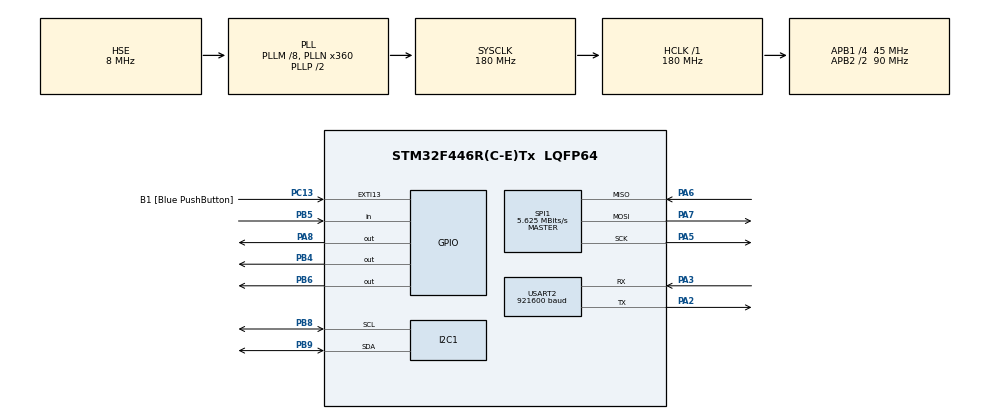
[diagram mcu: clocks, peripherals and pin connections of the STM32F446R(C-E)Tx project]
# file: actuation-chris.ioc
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Mcu.Family=STM32F4
Mcu.Name=STM32F446R(C-E)Tx
Mcu.Package=LQFP64
NVIC.PriorityGroup=NVIC_PRIORITYGROUP_0
NVIC.TIM1_BRK_TIM9_IRQn=true\:0\:0\:false\:false\:true\:true\:true\:true
NVIC.TIM1_CC_IRQn=true\:0\:0\:false\:false\:true\:true\:true\:true
NVIC.TIM1_TRG_COM_TIM11_IRQn=true\:0\:0\:false\:false\:true\:true\:true\:true
NVIC.TIM1_UP_TIM10_IRQn=true\:0\:0\:false\:false\:true\:true\:true\:true
NVIC.USART2_IRQn=true\:0\:0\:false\:false\:true\:true\:true\:true
PA13.GPIO_Label=TMS
PA13.Mode=Serial_Wire
PA13.Signal=SYS_JTMS-SWDIO
PA14.GPIO_Label=TCK
PA14.Mode=Serial_Wire
PA14.Signal=SYS_JTCK-SWCLK
PA2.Mode=Asynchronous
PA2.Signal=USART2_TX
PA3.Mode=Asynchronous
PA3.Signal=USART2_RX
PA5.Mode=Full_Duplex_Master
PA5.Signal=SPI1_SCK
PA6.Mode=Full_Duplex_Master
PA6.Signal=SPI1_MISO
PA7.Mode=Full_Duplex_Master
PA7.Signal=SPI1_MOSI
PA8.Signal=GPIO_Output
PB3.GPIO_Label=SWO
PB3.Signal=SYS_JTDO-SWO
PB4.Signal=GPIO_Output
PB5.Signal=GPIO_Input
PB6.Signal=GPIO_Output
PB8.Mode=I2C
PB8.Signal=I2C1_SCL
PB9.Mode=I2C
PB9.Signal=I2C1_SDA
PC13.GPIO_Label=B1 [Blue PushButton]
PC13.GPIO_ModeDefaultEXTI=GPIO_MODE_IT_FALLING
PC13.Signal=GPXTI13
PC14-OSC32_IN.Mode=LSE-External-Oscillator
PC14-OSC32_IN.Signal=RCC_OSC32_IN
PC15-OSC32_OUT.Mode=LSE-External-Oscillator
PC15-OSC32_OUT.Signal=RCC_OSC32_OUT
PH0-OSC_IN.Mode=HSE-External-Oscillator
PH0-OSC_IN.Signal=RCC_OSC_IN
PH1-OSC_OUT.Mode=HSE-External-Oscillator
PH1-OSC_OUT.Signal=RCC_OSC_OUT
ProjectManager.HeapSize=0x200
ProjectManager.StackSize=0x400
ProjectManager.TargetToolchain=STM32CubeIDE
RCC.48MHZClocksFreq_Value=84000000
RCC.AHBFreq_Value=180000000
RCC.APB1CLKDivider=RCC_HCLK_DIV4
RCC.APB1Freq_Value=45000000
RCC.APB1TimFreq_Value=90000000
RCC.APB2CLKDivider=RCC_HCLK_DIV2
RCC.APB2Freq_Value=90000000
RCC.APB2TimFreq_Value=180000000
RCC.CortexFreq_Value=180000000
RCC.FLatency-AdvancedSettings=FLASH_LATENCY_5
RCC.HCLKFreq_Value=180000000
RCC.HSE_VALUE=8000000
RCC.HSI_VALUE=16000000
RCC.PLLM=8
RCC.PLLN=360
RCC.PLLSourceVirtual=RCC_PLLSOURCE_HSE
RCC.SYSCLKFreq_VALUE=180000000
RCC.SYSCLKSource=RCC_SYSCLKSOURCE_PLLCLK
RCC.USBFreq_Value=180000000
RCC.VCOOutputFreq_Value=360000000
SPI1.BaudRatePrescaler=SPI_BAUDRATEPRESCALER_16
SPI1.CLKPhase=SPI_PHASE_2EDGE
SPI1.CalculateBaudRate=5.625 MBits/s
SPI1.Direction=SPI_DIRECTION_2LINES
SPI1.Mode=SPI_MODE_MASTER
SPI1.VirtualType=VM_MASTER
TIM1.Period=10
TIM1.Prescaler=17999
USART2.BaudRate=921600
USART2.VirtualMode=VM_ASYNC
VP_TIM1_VS_ClockSourceINT.Mode=Internal
board=NUCLEO-F446RE

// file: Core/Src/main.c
/* USER CODE BEGIN Header */
/**
  ******************************************************************************
  * @file           : main.c
  * @brief          : Main program body
  ******************************************************************************
  * @attention
  *
  * Copyright (c) 2023 STMicroelectronics.
  * All rights reserved.
  *
  * This software is licensed under terms that can be found in the LICENSE file
  * in the root directory of this software component.
  * If no LICENSE file comes with this software, it is provided AS-IS.
  *
  ******************************************************************************
  */
/* USER CODE END Header */
#include "main.h"
#include "i2c.h"
#include "spi.h"
#include "tim.h"
#include "usart.h"
#include "gpio.h"

/* USER CODE BEGIN Includes */

#include <stdio.h>

#include "pca9534.h"

/* USER CODE END Includes */

void SystemClock_Config(void);

/* USER CODE BEGIN 0 */

uint8_t UART2_rxBuffer[4l] = {0};
uint8_t keypress = 0;

uint32_t millis = 0;
float data_out[3] = {0}; //send to raspberry pi: (psi1, psi2, temp1)
uint8_t act_channels[11] = {0}; //first element is unused so 1-10 correspond to labeled channels

uint8_t ok_to_go;

int _write(int fd, char* ptr, int len) {
  HAL_UART_Transmit(&huart2, (uint8_t *) ptr, len, HAL_MAX_DELAY);
   return len;
}

//copied from daq-testbed-basic
uint8_t opcodes_to_spi(uint16_t* opcodes, uint8_t num_opcodes, uint8_t* spi_bytes) {
  for (uint8_t i = 0; i < num_opcodes; i++) {
    spi_bytes[i * 3 + 0] = opcodes[i] >> 8;
    spi_bytes[i * 3 + 1] = opcodes[i];
  }
  return num_opcodes * 3;
}

uint16_t read_single_reg(uint8_t address) {
  uint16_t opcodes[] = { 0xA000 | (address << 7) };

  uint8_t tx[3] = {0};
  opcodes_to_spi(opcodes, 1, tx);

  HAL_GPIO_WritePin(GPIOB, GPIO_PIN_6, 0); // CS low
  HAL_SPI_Transmit(&hspi1, tx, 3, HAL_MAX_DELAY); // send command
  HAL_GPIO_WritePin(GPIOB, GPIO_PIN_6, 1); // CS high

  tx[0] = 0;
  tx[1] = 0;
  tx[2] = 0;

  uint8_t rx[3] = {0};

  HAL_GPIO_WritePin(GPIOB, GPIO_PIN_6, 0); // CS low
  HAL_SPI_TransmitReceive(&hspi1, tx, rx, 3, HAL_MAX_DELAY); // read response
  HAL_GPIO_WritePin(GPIOB, GPIO_PIN_6, 1); // CS high

  return (rx[0] << 8) | rx[1];
}

void write_single_reg(uint8_t address, uint16_t value) {
  uint16_t opcodes[] = { 0x6000 | (address << 7), value };

  uint8_t tx[6] = {0};
  opcodes_to_spi(opcodes, 2, tx);

  HAL_GPIO_WritePin(GPIOB, GPIO_PIN_6, 0); // CS low
  HAL_SPI_Transmit(&hspi1, tx, 6, HAL_MAX_DELAY); // send command
  HAL_GPIO_WritePin(GPIOB, GPIO_PIN_6, 1); // CS high
}

float adc_to_volt(int32_t adc_count, int32_t gain){
	float volt = ((adc_count-1) / 8388608.0) * 1.2 / (float)(gain);
	return volt;
}

float adc_to_psi(int32_t adc_count){
	float mA = adc_to_volt(adc_count, 1) * 1000 / 55.5;
	float psi = 62.5 * mA + -250;
	return psi;
}

void actuate(int32_t channel, int32_t off){ //labeled channels 1-16
	if(channel <= 8){
		pca9534_set_channel(&hi2c1, PCA9534_OUTPUT_1, channel-1, !off);
	}else{
		pca9534_set_channel(&hi2c1, PCA9534_OUTPUT_2, channel-9, !off);
	}
}

void abort_valves(){
	for(uint8_t i=1; i<=8; i++){
		actuate(i, 0);
		act_channels[i] = 0;
	}
	actuate(9, 1);
	act_channels[9] = 1;
	actuate(10, 1);
	act_channels[10] = 1;
}

/* USER CODE END 0 */

int main(void)
{

  /* MCU Configuration--------------------------------------------------------*/

  /* Reset of all peripherals, Initializes the Flash interface and the Systick. */
  HAL_Init();

  /* Configure the system clock */
  SystemClock_Config();

  /* Initialize all configured peripherals */
  MX_GPIO_Init();
  MX_I2C1_Init();
  MX_USART2_UART_Init();
  MX_SPI1_Init();
  MX_TIM1_Init();
  /* USER CODE BEGIN 2 */

  // disable printf buffering
  setvbuf(stdout, NULL, _IONBF, 0);

  HAL_TIM_Base_Start_IT(&htim1);

  pca9534_init_output(&hi2c1, PCA9534_OUTPUT_1);
  pca9534_init_output(&hi2c1, PCA9534_OUTPUT_2);

  HAL_GPIO_WritePin(GPIOA, GPIO_PIN_8, 0);

  //set all channels off
   for (uint32_t i = 1; i <= 16; i++){
	   actuate(i, 0);
   }

   HAL_GPIO_WritePin(GPIOA, GPIO_PIN_8, 1);

//  for(uint8_t i = 0; i < 8; i++){
//	  pca9534_set_channel(&hi2c1, PCA9534_OUTPUT_1, i, 0);
//  }
//  for(uint8_t i = 0; i < 8; i++){
//  	  pca9534_set_channel(&hi2c1, PCA9534_OUTPUT_2, i, 0);
//    }

  //DAQ TESBED init
  HAL_Delay(50);

  HAL_GPIO_WritePin(GPIOB, GPIO_PIN_4, 1); // deassert RESET
  HAL_GPIO_WritePin(GPIOB, GPIO_PIN_6, 1); // deassert CS

  HAL_GPIO_WritePin(GPIOB, GPIO_PIN_4, 0); // strobe RESET
  HAL_GPIO_WritePin(GPIOB, GPIO_PIN_4, 1); // strobe RESET

  HAL_Delay(100);

  write_single_reg(0x04, 0x0400);
  //set channel 2 gain to 16
  //0000 0100 0000 0000

  //start reciving commands
  HAL_UART_Receive_IT(&huart2, UART2_rxBuffer, 1);

printf("-------------------------------------------------------------------- \r\n");
printf("  ms         psi1        psi2       TC1 mV    | 1 2 3 4 5 6 7 8 9 10 \r\n");

	ok_to_go = 1;

  /* USER CODE END 2 */

  /* Infinite loop */
  /* USER CODE BEGIN WHILE */
  while (1)
  {

    uint8_t drdy = !HAL_GPIO_ReadPin(GPIOB, GPIO_PIN_5); // read DRDY
	if (drdy) {

		//request
		HAL_GPIO_WritePin(GPIOB, GPIO_PIN_6, 0);
		uint8_t tx_data[32] = {0};
		uint8_t rx_data[32];
		HAL_SPI_TransmitReceive(&hspi1, tx_data, rx_data, 27, HAL_MAX_DELAY);
		HAL_GPIO_WritePin(GPIOB, GPIO_PIN_6, 1);

		int32_t channels[8];
		for (uint8_t i = 0; i < 8; i++) {
		  channels[i] = (rx_data[i * 3 + 3] << 24) | (rx_data[i * 3 + 4] << 16) | (rx_data[i * 3 + 5] << 8);
		  channels[i] >>= 8;

		  data_out[0] = adc_to_psi(channels[0]);
		  data_out[1] = adc_to_psi(channels[1]);
		  data_out[2] = adc_to_volt(channels[2], 16) * 1000.0 - 0.5;

		}
	}

	if(keypress){
		char key = UART2_rxBuffer[0];
			 if(key == '1') {act_channels[1] = 1; actuate(1, 1);}
		else if(key == '2') {act_channels[2] = 1; actuate(2, 1);}
		else if(key == '3') {act_channels[3] = 1; actuate(3, 1);}
		else if(key == '4') {act_channels[4] = 1; actuate(4, 1);}
		else if(key == '5') {act_channels[5] = 1; actuate(5, 1);}
		else if(key == '6') {act_channels[6] = 1; actuate(6, 1);}
		else if(key == '7') {act_channels[7] = 1; actuate(7, 1);}
		else if(key == '8') {act_channels[8] = 1; actuate(8, 1);}
		else if(key == '9') {act_channels[9] = 1; actuate(9, 1);}
		else if(key == '0') {act_channels[10] = 1; actuate(10, 1);}

		else if(key == 'q') {act_channels[1] = 0; actuate(1, 0);}
		else if(key == 'w') {act_channels[2] = 0; actuate(2, 0);}
		else if(key == 'e') {act_channels[3] = 0; actuate(3, 0);}
		else if(key == 'r') {act_channels[4] = 0; actuate(4, 0);}
		else if(key == 't') {act_channels[5] = 0; actuate(5, 0);}
		else if(key == 'y') {act_channels[6] = 0; actuate(6, 0);}
		else if(key == 'u') {act_channels[7] = 0; actuate(7, 0);}
		else if(key == 'i') {act_channels[8] = 0; actuate(8, 0);}
		else if(key == 'o') {act_channels[9] = 0; actuate(9, 0);}
		else if(key == 'p') {act_channels[10] = 0; actuate(10, 0);}
		else if(key == 127) {abort_valves();}

		keypress = 0;
	}

	printf("%ld,   ", millis);
	for(uint8_t i = 0; i < 3; i++){
		printf("%f, ", data_out[i]);
	}
	printf("  ");
	for(uint8_t i = 1; i <= 10; i++){
		printf("%d ", act_channels[i]);
	}
	printf("\r\n");

//	HAL_Delay(1);

    /* USER CODE END WHILE */

  }
}

void SystemClock_Config(void)
{
  RCC_OscInitTypeDef RCC_OscInitStruct = {0};
  RCC_ClkInitTypeDef RCC_ClkInitStruct = {0};

  /** Configure the main internal regulator output voltage
  */
  __HAL_RCC_PWR_CLK_ENABLE();
  __HAL_PWR_VOLTAGESCALING_CONFIG(PWR_REGULATOR_VOLTAGE_SCALE1);

  /** Initializes the RCC Oscillators according to the specified parameters
  * in the RCC_OscInitTypeDef structure.
  */
  RCC_OscInitStruct.OscillatorType = RCC_OSCILLATORTYPE_HSE;
  RCC_OscInitStruct.HSEState = RCC_HSE_ON;
  RCC_OscInitStruct.PLL.PLLState = RCC_PLL_ON;
  RCC_OscInitStruct.PLL.PLLSource = RCC_PLLSOURCE_HSE;
  RCC_OscInitStruct.PLL.PLLM = 8;
  RCC_OscInitStruct.PLL.PLLN = 360;
  RCC_OscInitStruct.PLL.PLLP = RCC_PLLP_DIV2;
  RCC_OscInitStruct.PLL.PLLQ = 2;
  RCC_OscInitStruct.PLL.PLLR = 2;
  if (HAL_RCC_OscConfig(&RCC_OscInitStruct) != HAL_OK)
  {
    Error_Handler();
  }

  /** Activate the Over-Drive mode
  */
  if (HAL_PWREx_EnableOverDrive() != HAL_OK)
  {
    Error_Handler();
  }

  /** Initializes the CPU, AHB and APB buses clocks
  */
  RCC_ClkInitStruct.ClockType = RCC_CLOCKTYPE_HCLK|RCC_CLOCKTYPE_SYSCLK
                              |RCC_CLOCKTYPE_PCLK1|RCC_CLOCKTYPE_PCLK2;
  RCC_ClkInitStruct.SYSCLKSource = RCC_SYSCLKSOURCE_PLLCLK;
  RCC_ClkInitStruct.AHBCLKDivider = RCC_SYSCLK_DIV1;
  RCC_ClkInitStruct.APB1CLKDivider = RCC_HCLK_DIV4;
  RCC_ClkInitStruct.APB2CLKDivider = RCC_HCLK_DIV2;

  if (HAL_RCC_ClockConfig(&RCC_ClkInitStruct, FLASH_LATENCY_5) != HAL_OK)
  {
    Error_Handler();
  }
}

/* USER CODE BEGIN 4 */

void HAL_TIM_PeriodElapsedCallback(TIM_HandleTypeDef *htim) {
//    printf("1 milli!\r\n");
    millis++;
}

void HAL_UART_RxCpltCallback(UART_HandleTypeDef *huart)
{
//	printf("recv: %c \r\n", UART2_rxBuffer[0]);
	keypress = 1;
    HAL_UART_Receive_IT(&huart2, UART2_rxBuffer, 1);
}

void HAL_UART_ErrorCallback(UART_HandleTypeDef *huart) {
	HAL_UART_Receive_IT(&huart2, UART2_rxBuffer, 1);
}

/* USER CODE END 4 */

void Error_Handler(void)
{
  __disable_irq();
  while (1)
  {
  }
}
